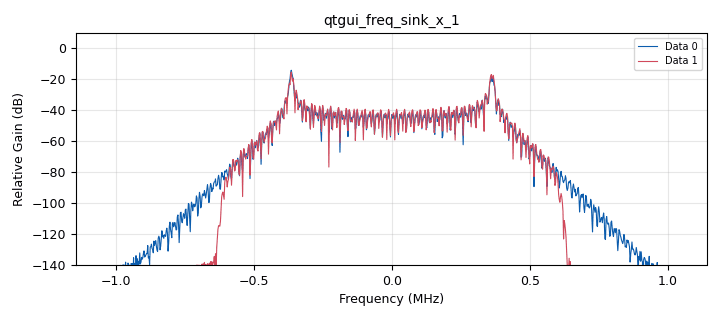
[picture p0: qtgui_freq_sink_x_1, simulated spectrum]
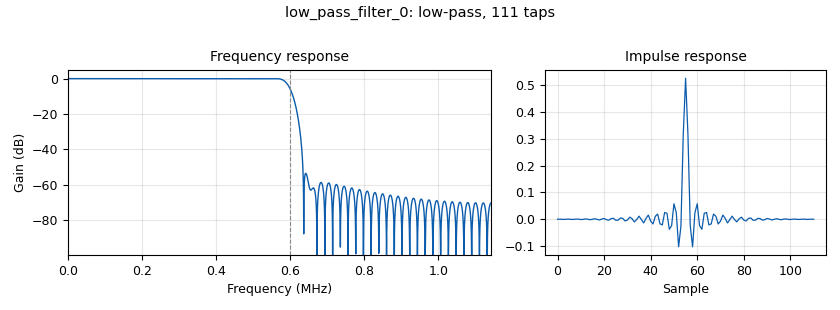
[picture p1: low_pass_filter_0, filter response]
options:
  parameters:
    generate_options: qt_gui
    id: hackrf
    output_language: python
    title: HackRF Test
  states: {}

blocks:
- name: bw
  id: variable
  parameters:
    value: 300e3
  states: {}
- name: center_freq
  id: variable
  parameters:
    value: 52e6
  states: {}
- name: decimation
  id: variable
  parameters:
    value: '20'
  states: {}
- name: samp_rate
  id: variable
  parameters:
    value: 2.285e6
  states: {}
- name: sdr_center_freq
  id: variable
  parameters:
    value: 50e6
  states: {}
- name: blocks_message_debug_0
  id: blocks_message_debug
  parameters: {}
  states: {state: disabled}
- name: blocks_probe_rate_0
  id: blocks_probe_rate
  parameters:
    alpha: '0.15'
    mintime: '500.0'
    type: complex
  states: {state: disabled}
- name: blocks_vector_source_x_0
  id: blocks_vector_source_x
  parameters:
    repeat: 'True'
    type: byte
    vector: (0,0,0,255,255,255,0,255,255)
  states: {}
- name: digital_gfsk_mod_0
  id: digital_gfsk_mod
  parameters:
    bt: '0.35'
    samples_per_symbol: '10'
    sensitivity: '1.0'
  states: {}
- name: freq_xlating_fir_filter_xxx_0
  id: freq_xlating_fir_filter_xxx
  parameters:
    center_freq: center_freq-sdr_center_freq
    decim: decimation
    samp_rate: samp_rate
    taps: firdes.low_pass(5, samp_rate, bw,bw*2)
    type: ccc
  states: {state: disabled}
- name: low_pass_filter_0
  id: low_pass_filter
  parameters:
    cutoff_freq: 600e3
    decim: '1'
    gain: '1'
    samp_rate: samp_rate
    type: fir_filter_ccf
    width: 50e3
    win: firdes.WIN_HAMMING
  states: {}
- name: osmosdr_sink_0
  id: osmosdr_sink
  parameters:
    bb_gain0: '20'
    freq0: 52e6
    gain0: '10'
    if_gain0: '20'
    sample_rate: samp_rate
    sync: sync
    type: fc32
  states: {}
- name: osmosdr_source_0
  id: osmosdr_source
  parameters:
    bb_gain0: '20'
    freq0: sdr_center_freq
    gain0: '10'
    gain_mode0: 'False'
    if_gain0: '20'
    sample_rate: samp_rate
    sync: sync
    type: fc32
  states: {state: disabled}
- name: qtgui_freq_sink_x_0
  id: qtgui_freq_sink_x
  parameters:
    bw: samp_rate
    fc: sdr_center_freq
    fftsize: '1024'
    type: complex
    wintype: firdes.WIN_BLACKMAN_hARRIS
  states: {state: disabled}
- name: qtgui_freq_sink_x_1
  id: qtgui_freq_sink_x
  parameters:
    bw: samp_rate
    fc: '0'
    fftsize: '1024'
    nconnections: '2'
    type: complex
    wintype: firdes.WIN_BLACKMAN_hARRIS
  states: {}

connections:
- [blocks_probe_rate_0, rate, blocks_message_debug_0, print]
- [blocks_vector_source_x_0, '0', digital_gfsk_mod_0, '0']
- [digital_gfsk_mod_0, '0', low_pass_filter_0, '0']
- [digital_gfsk_mod_0, '0', osmosdr_sink_0, '0']
- [digital_gfsk_mod_0, '0', qtgui_freq_sink_x_1, '0']
- [freq_xlating_fir_filter_xxx_0, '0', qtgui_freq_sink_x_0, '0']
- [low_pass_filter_0, '0', qtgui_freq_sink_x_1, '1']
- [osmosdr_source_0, '0', freq_xlating_fir_filter_xxx_0, '0']

metadata:
  file_format: 1
